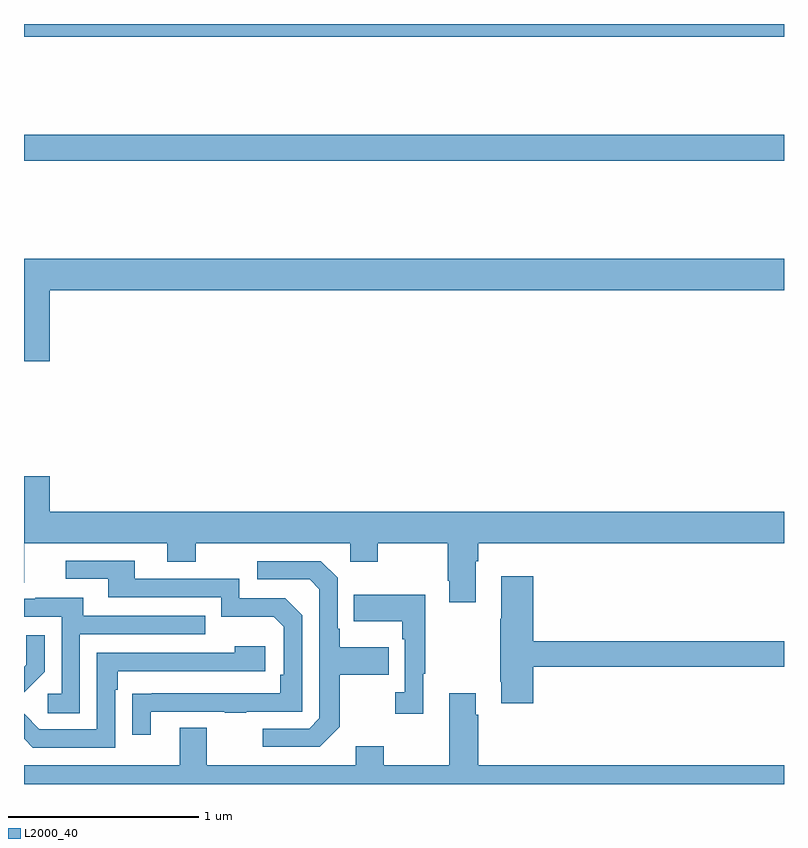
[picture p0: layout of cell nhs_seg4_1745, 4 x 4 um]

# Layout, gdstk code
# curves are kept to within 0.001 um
import gdstk
lib = gdstk.Library(unit=1e-6, precision=1e-09)
def R(c, l, rs):  # rectangles x0, y0, x1, y1
    for r in rs: c.add(gdstk.rectangle(r[:2], r[2:], *l))
def P(c, l, *ps):  # polygons
    for p in ps: c.add(gdstk.Polygon(p, *l))
L2000_40 = (2000, 40)

nhs_seg4_1745 = lib.new_cell('nhs_seg4_1745')
R(nhs_seg4_1745, L2000_40, [(201,784.18,205,784.316), (201,784.832,205,784.9)])
P(nhs_seg4_1745, L2000_40, [(201.136,783.5),(205,783.5),(205,783.664),(201,783.664),(201,783.126),(201.136,783.126)],
  [(203.377,782.072),(203.39,782.072),(203.39,782.168),(205,782.168),(205,782.332),(201.136,782.332),(201.136,782.521),(201,782.521),(201,781.96),(201.001,781.96),(201.001,782.168),(201.755,782.168),(201.755,782.069),(201.903,782.069),(201.903,782.168),(202.716,782.168),(202.716,782.069),(202.863,782.069),(202.863,782.168),(203.23,782.168),(203.23,781.969),(203.237,781.969),(203.237,781.857),(203.377,781.857)],
  [(201.667,781.281),(202.057,781.281),(202.057,781.276),(202.169,781.276),(202.169,781.281),(202.464,781.281),(202.464,781.788),(202.374,781.878),(202.134,781.878),(202.134,781.98),(201.583,781.98),(201.583,782.076),(201.219,782.076),(201.219,781.98),(201.443,781.98),(201.443,781.884),(202.038,781.884),(202.038,781.781),(202.315,781.781),(202.368,781.728),(202.368,781.474),(202.348,781.474),(202.348,781.377),(201.571,781.376),(201.571,781.158),(201.667,781.158)],
  [(202.663,781.201),(202.663,781.474),(202.919,781.474),(202.919,781.621),(202.663,781.621),(202.663,781.717),(202.65,781.717),(202.65,781.986),(202.563,782.073),(202.227,782.073),(202.227,781.977),(202.503,781.977),(202.554,781.926),(202.554,781.245),(202.5,781.191),(202.257,781.191),(202.257,781.095),(202.557,781.095)],
  [(203.681,781.516),(205,781.516),(205,781.652),(203.681,781.652),(203.681,781.993),(203.513,781.993),(203.513,781.769),(203.506,781.769),(203.506,781.438),(203.513,781.438),(203.513,781.326),(203.681,781.326)],
  [(203.101,781.481),(203.113,781.481),(203.113,781.897),(202.735,781.897),(202.735,781.757),(202.992,781.757),(202.992,781.661),(203.004,781.661),(203.004,781.382),(202.953,781.382),(202.953,781.269),(203.101,781.269)],
  [(201.294,781.689),(201.953,781.689),(201.953,781.785),(201.313,781.785),(201.313,781.879),(201.059,781.879),(201.059,781.875),(201,781.875),(201,781.779),(201.198,781.779),(201.198,781.374),(201.126,781.374),(201.126,781.273),(201.294,781.273)],
  [(201.108,781.49),(201.108,781.684),(201.011,781.684),(201.011,781.527),(201,781.516),(201,781.382)],
  [(201.48,781.397),(201.493,781.397),(201.493,781.494),(202.27,781.494),(202.27,781.624),(202.109,781.624),(202.109,781.59),(201.384,781.59),(201.384,781.188),(201.081,781.188),(201,781.269),(201,781.137),(201.045,781.092),(201.48,781.092)],
  [(205,781),(203.39,781),(203.39,781.265),(203.377,781.265),(203.377,781.378),(203.237,781.378),(203.237,781),(202.893,781),(202.893,781.099),(202.745,781.099),(202.745,781),(201.961,781),(201.961,781.195),(201.821,781.195),(201.821,781),(201,781),(201,780.9),(205,780.9)])

lib.write_gds('nhs_seg4_1745.gds')
